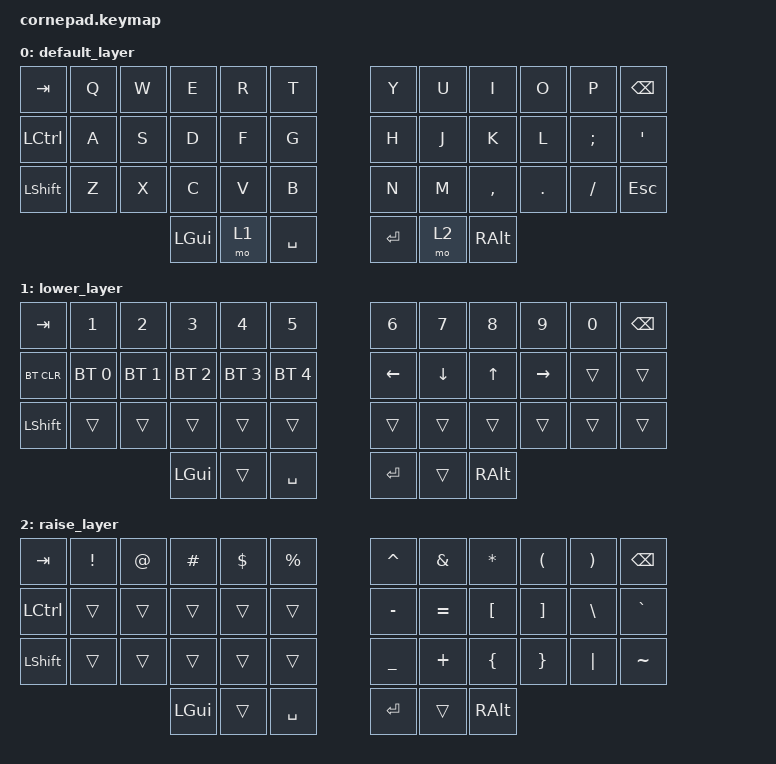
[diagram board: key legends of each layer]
/*
 * Copyright (c) 2020 The ZMK Contributors
 *
 * SPDX-License-Identifier: MIT
 */

#include <behaviors.dtsi>
#include <dt-bindings/zmk/keys.h>
#include <dt-bindings/zmk/bt.h>

#include <dt-bindings/zmk/outputs.h>
#include <zephyr/dt-bindings/input/input-event-codes.h>
#include <input/processors.dtsi>
#include <dt-bindings/zmk/input_transform.h>
#include <dt-bindings/zmk/ext_power.h>
#include <dt-bindings/zmk/pointing.h>

 / {
     glidepoint_listener {
        compatible = "zmk,input-listener";
        device = <&glidepoint>;
        input-processors = 
        <&zip_xy_transform (INPUT_TRANSFORM_XY_SWAP |INPUT_TRANSFORM_X_INVERT | INPUT_TRANSFORM_Y_INVERT)>,
        <&zip_temp_layer 4 1000>;
     }; //end glidepoint

   }; // end cirque listener group


/ {
        keymap {
                compatible = "zmk,keymap";

                default_layer {
// -----------------------------------------------------------------------------------------
// |  TAB |  Q  |  W  |  E  |  R  |  T  |   |  Y  |  U   |  I  |  O  |  P  | BSPC |
// | CTRL |  A  |  S  |  D  |  F  |  G  |   |  H  |  J   |  K  |  L  |  ;  |  '   |
// | SHFT |  Z  |  X  |  C  |  V  |  B  |   |  N  |  M   |  ,  |  .  |  /  | ESC  |
//                    | GUI | LWR | SPC |   | ENT | RSE  | ALT |
                        bindings = <
   &kp TAB   &kp Q &kp W &kp E &kp R &kp T   &kp Y &kp U  &kp I     &kp O   &kp P    &kp BSPC
   &kp LCTRL &kp A &kp S &kp D &kp F &kp G   &kp H &kp J  &kp K     &kp L   &kp SEMI &kp SQT
   &kp LSHFT &kp Z &kp X &kp C &kp V &kp B   &kp N &kp M  &kp COMMA &kp DOT &kp FSLH &kp ESC
                  &kp LGUI &mo 1 &kp SPACE   &kp RET &mo 2 &kp RALT
                        >;
                };
                lower_layer {
// -----------------------------------------------------------------------------------------
// |  TAB |  1  |  2  |  3  |  4  |  5  |   |  6  |  7  |  8  |  9  |  0  | BSPC |
// | BTCLR| BT1 | BT2 | BT3 | BT4 | BT5 |   | LFT | DWN |  UP | RGT |     |      |
// | SHFT |     |     |     |     |     |   |     |     |     |     |     |      |
//                    | GUI |     | SPC |   | ENT |     | ALT |
                        bindings = <
   &kp TAB    &kp N1       &kp N2       &kp N3       &kp N4       &kp N5         &kp N6   &kp N7   &kp N8 &kp N9    &kp N0 &kp BSPC
   &bt BT_CLR &bt BT_SEL 0 &bt BT_SEL 1 &bt BT_SEL 2 &bt BT_SEL 3 &bt BT_SEL 4   &kp LEFT &kp DOWN &kp UP &kp RIGHT &trans &trans
   &kp LSHFT  &trans       &trans       &trans       &trans       &trans         &trans   &trans   &trans &trans    &trans &trans
                                    &kp LGUI     &trans       &kp SPACE      &kp RET  &trans   &kp RALT
                        >;
                };

                raise_layer {
// -----------------------------------------------------------------------------------------
// |  TAB |  !  |  @  |  #  |  $  |  %  |   |  ^  |  &  |  *  |  (  |  )  | BSPC |
// | CTRL |     |     |     |     |     |   |  -  |  =  |  [  |  ]  |  \  |  `   |
// | SHFT |     |     |     |     |     |   |  _  |  +  |  {  |  }  | "|" |  ~   |
//                    | GUI |     | SPC |   | ENT |     | ALT |
                        bindings = <
   &kp  TAB  &kp EXCL &kp AT &kp HASH &kp DLLR &kp PRCNT   &kp CARET &kp AMPS  &kp ASTRK &kp LPAR &kp RPAR &kp BSPC
   &kp LCTRL &trans   &trans &trans   &trans   &trans      &kp MINUS &kp EQUAL &kp LBKT  &kp RBKT &kp BSLH &kp GRAVE
   &kp LSHFT &trans   &trans &trans   &trans   &trans      &kp UNDER &kp PLUS  &kp LBRC  &kp RBRC &kp PIPE &kp TILDE
                             &kp LGUI &trans   &kp SPACE   &kp RET   &trans    &kp RALT
                        >;
                };
        };
};
